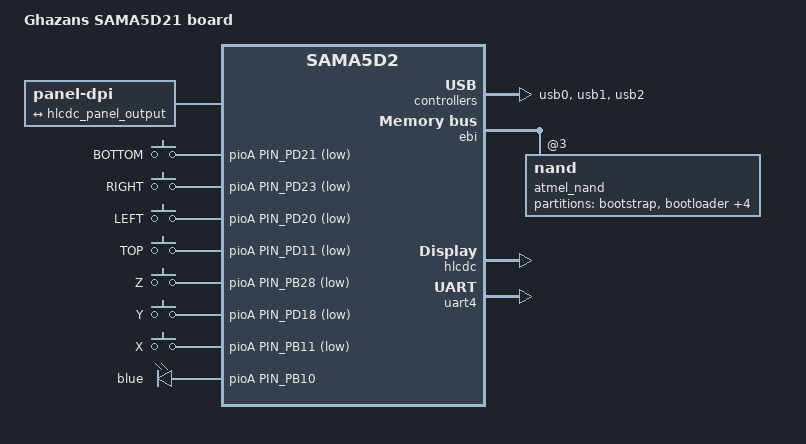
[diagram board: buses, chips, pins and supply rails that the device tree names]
// SPDX-License-Identifier: (GPL-2.0+ OR X11)
/*
 * at91-sama5d2_ptc_ek.dts - Device Tree file for SAMA5D2 PTC EK board
 *
 *  Copyright (C) 2017 Microchip/Atmel,
 *		  2017 Wenyou Yang <wenyou.yang@microchip.com>
 *		  2017 Ludovic Desroches <ludovic.desroches@microchip.com>
 */
/dts-v1/;
#include "sama5d2.dtsi"
#include "sama5d2-pinfunc.h"
#include <dt-bindings/mfd/atmel-flexcom.h>
#include <dt-bindings/gpio/gpio.h>
#include <dt-bindings/input/input.h>
#include <dt-bindings/pinctrl/at91.h>

/ {
	model = "Ghazans SAMA5D21 board";
	compatible = "atmel,sama5d2-ptc_ek", "atmel,sama5d2", "atmel,sama5";

	aliases {
		serial0 = &uart4;	/* Console*/
	};

	chosen {
		stdout-path = "serial0:115200n8";
	};

	clocks {
		slow_xtal {
			clock-frequency = <32768>;
		};

		main_xtal {
			clock-frequency = <12000000>;
		};
	};

	ahb {
		usb0: gadget@300000 {
			status = "okay";
		};

		usb1: ohci@400000 {
			num-ports = <3>;
			status = "okay";
		};

		usb2: ehci@500000 {
			status = "okay";
		};

		ebi: ebi@10000000 {
			pinctrl-names = "default";
			pinctrl-0 = <&pinctrl_nand_default>;
			status = "okay"; /* conflicts with sdmmc1 and qspi0 */

			nand_controller: nand-controller {
				status = "okay";

				nand@3 {
					reg = <0x3 0x0 0x2>;
					atmel,rb = <0>;
					nand-bus-width = <8>;
					nand-ecc-mode = "hw";
					nand-on-flash-bbt;
					label = "atmel_nand";

					partitions {
						compatible = "fixed-partitions";
						#address-cells = <1>;
						#size-cells = <1>;

						at91bootstrap@0 {
							label = "bootstrap";
							reg = <0x0 0x40000>;
						};

						bootloader@80000 {
							label = "bootloader";
							reg = <0x80000 0xc0000>;
						};

						bootloaderenv@140000 {
							label = "bootloader env";
							reg = <0x140000 0x40000>;
						};

						dtb@180000 {
							label = "device tree";
							reg = <0x180000 0x40000>;
						};

						kernel@1C0000 {
							label = "kernel";
							reg = <0x1C0000 0x640000>;
						};

						rootfs@800000 {
							label = "rootfs";
							reg = <0x800000 0x1f700000>;
						};
					};
				};
			};
		};

		sdmmc0: sdio-host@a0000000 {
			bus-width = <8>;
			pinctrl-names = "default";
			pinctrl-0 = <&pinctrl_sdmmc0_default>;
			status = "disabled";
		};

		apb {
                        hlcdc: hlcdc@f0000000 {
                                status = "okay";
                                hlcdc-display-controller {
                                        pinctrl-names = "default";
                                        pinctrl-0 = <&pinctrl_lcd_base &pinctrl_lcd_rgb565>;
                                        port@0 {
                                                hlcdc_panel_output: endpoint@0 {
                                                        reg = <0>;
                                                        remote-endpoint = <&panel_input>;
                                                };
					};
				};
			};



			spi0: spi@f8000000 {
				pinctrl-names = "default";
				pinctrl-0 = <&pinctrl_spi0_default>;
				status = "disabled"; /* Overlaps flexcom3 */
			};

			macb0: ethernet@f8008000 {
				status = "disabled";

			};

			tcb0: timer@f800c000 {
				timer0: timer@0 {
					compatible = "atmel,tcb-timer";
					reg = <0>;
				};

				timer1: timer@1 {
					compatible = "atmel,tcb-timer";
					reg = <1>;
				};
			};

			uart0: serial@f801c000 {
				pinctrl-names = "default";
				pinctrl-0 = <&pinctrl_uart0_default>;
				atmel,use-dma-rx;
				atmel,use-dma-tx;
				status = "disabled";
			};

			uart4: serial@fc00c000 {
				pinctrl-names = "default";
				pinctrl-0 = <&pinctrl_uart4_default>;
				atmel,use-dma-rx;
				atmel,use-dma-tx;
				status = "okay";
			};

			i2c0: i2c@f8028000 {
				status = "disabled";
			};

			flx0: flexcom@f8034000 {
				status = "disabled";
			};
                        flx1: flexcom@f8038000 {
                                status = "disabled";
                        };
                        flx2: flexcom@fc010000 {
				atmel,flexcom-mode = <ATMEL_FLEXCOM_MODE_SPI>;
				status = "disabled";
			};

			poweroff@f8048010 {
				debounce-delay-us = <976>;

				input@0 {
					reg = <0>;
				};
			};

			watchdog@f8048040 {
				status = "okay";
			};

			spi1: spi@fc000000 {
				pinctrl-names = "default";
				pinctrl-0 = <&pinctrl_spi1_default>;
				status = "disabled";
			};

			i2c1: i2c@fc028000 {
				dmas = <0>, <0>;
				pinctrl-names = "default", "gpio";
				pinctrl-0 = <&pinctrl_i2c1_default>;
				pinctrl-1 = <&pinctrl_i2c1_gpio>;
				sda-gpios = <&pioA PIN_PC6 GPIO_ACTIVE_HIGH>;
				scl-gpios = <&pioA PIN_PC7 (GPIO_ACTIVE_HIGH | GPIO_OPEN_DRAIN)>;
				status = "disabled";

			};

			pinctrl@fc038000 {
				pinctrl_flx0_default: flx0_default {
					pinmux = <PIN_PB28__FLEXCOM0_IO0>,
						 <PIN_PB29__FLEXCOM0_IO1>;
					bias-disable;
				};

				pinctrl_flx0_gpio: flx0_gpio {
					pinmux = <PIN_PB28__GPIO>,
						 <PIN_PB29__GPIO>;
					bias-disable;
				};

				pinctrl_i2c0_default: i2c0_default {
					pinmux = <PIN_PD21__TWD0>,
						 <PIN_PD22__TWCK0>;
					bias-disable;
				};

				pinctrl_i2c0_gpio: i2c0_gpio {
					pinmux = <PIN_PD21__GPIO>,
						 <PIN_PD22__GPIO>;
					bias-disable;
				};

				pinctrl_i2c1_default: i2c1_default {
					pinmux = <PIN_PC6__TWD1>,
						 <PIN_PC7__TWCK1>;
					bias-disable;
				};

				pinctrl_i2c1_gpio: i2c1_gpio {
					pinmux = <PIN_PC6__GPIO>,
						 <PIN_PC7__GPIO>;
					bias-disable;
				};

				pinctrl_key_gpio_default: key_gpio_default {
					pinmux = <PIN_PD21__GPIO>,
						 <PIN_PD11__GPIO>,
						 <PIN_PD23__GPIO>,
						 <PIN_PD20__GPIO>,
						 <PIN_PB11__GPIO>,
						 <PIN_PD18__GPIO>,
						 <PIN_PB28__GPIO>;
					bias-pull-up;
				};

				pinctrl_led_gpio_default: led_gpio_default {
					pinmux = <PIN_PB10__GPIO>;
					bias-pull-up;
				};

				pinctrl_macb0_default: macb0_default {
					pinmux = <PIN_PB14__GTXCK>,
						 <PIN_PB15__GTXEN>,
						 <PIN_PB16__GRXDV>,
						 <PIN_PB17__GRXER>,
						 <PIN_PB18__GRX0>,
						 <PIN_PB19__GRX1>,
						 <PIN_PB20__GTX0>,
						 <PIN_PB21__GTX1>,
						 <PIN_PB22__GMDC>,
						 <PIN_PB23__GMDIO>;
					bias-disable;
				};

				pinctrl_macb0_phy_irq: macb0_phy_irq {
					pinmux = <PIN_PB24__GPIO>;
					bias-disable;
				};

				pinctrl_nand_default: nand_default {
					re_we_data {
						pinmux = <PIN_PA22__D0>,
							 <PIN_PA23__D1>,
							 <PIN_PA24__D2>,
							 <PIN_PA25__D3>,
							 <PIN_PA26__D4>,
							 <PIN_PA27__D5>,
							 <PIN_PA28__D6>,
							 <PIN_PA29__D7>,
							 <PIN_PA31__NCS3>;
						bias-disable;
						atmel,drive-strength = <ATMEL_PIO_DRVSTR_ME>;
					};

					ale_cle_rdy_cs {
						pinmux = <PIN_PB0__A21_NANDALE>,
							 <PIN_PB1__A22_NANDCLE>,
							 <PIN_PC8__NANDRDY>,
							 <PIN_PA30__NWE_NANDWE>,
							 <PIN_PB2__NRD_NANDOE>;
						bias-pull-up;
						atmel,drive-strength = <ATMEL_PIO_DRVSTR_ME>;
					};
				};

				pinctrl_sdmmc0_default: sdmmc0_default {
					cmd_data {
						pinmux = <PIN_PA1__SDMMC0_CMD>,
							 <PIN_PA2__SDMMC0_DAT0>,
							 <PIN_PA3__SDMMC0_DAT1>,
							 <PIN_PA4__SDMMC0_DAT2>,
							 <PIN_PA5__SDMMC0_DAT3>,
							 <PIN_PA6__SDMMC0_DAT4>,
							 <PIN_PA7__SDMMC0_DAT5>,
							 <PIN_PA8__SDMMC0_DAT6>,
							 <PIN_PA9__SDMMC0_DAT7>;
						bias-pull-up;
					};

					ck_cd_vddsel {
						pinmux = <PIN_PA0__SDMMC0_CK>,
							 <PIN_PA11__SDMMC0_VDDSEL>,
							 <PIN_PA13__SDMMC0_CD>;
						bias-disable;
					};
				};

				pinctrl_spi0_default: spi0_default {
					pinmux = <PIN_PA14__SPI0_SPCK>,
						 <PIN_PA15__SPI0_MOSI>,
						 <PIN_PA16__SPI0_MISO>,
						 <PIN_PA17__SPI0_NPCS0>;
					bias-disable;
				};

				pinctrl_spi1_default: spi1_default {
					pinmux = <PIN_PC1__SPI1_SPCK>,
						 <PIN_PC2__SPI1_MOSI>,
						 <PIN_PC3__SPI1_MISO>,
						 <PIN_PC4__SPI1_NPCS0>;
					bias-disable;
				};

				pinctrl_uart0_default: uart0_default {
					pinmux = <PIN_PB26__URXD0>,
						 <PIN_PB27__UTXD0>;
					bias-disable;
				};

				pinctrl_uart4_default: uart4_default {
					pinmux = <PIN_PB3__URXD4>,
						 <PIN_PB4__UTXD4>;
					bias-disable;
				};


				pinctrl_usb_default: usb_default {
					pinmux = <PIN_PB12__GPIO>;
					bias-disable;
				};

                                pinctrl_lcd_base: lcd-base-0 {
					pinmux = <PIN_PC4__LCDDISP>,
						<PIN_PC5__LCDVSYNC>,
						<PIN_PC6__LCDHSYNC>,
						<PIN_PC7__LCDPCK>;
//						<PIN_PD1__LCDDEN>; DEN disabled, only VSYNC/HSYNC with fixed backporch
					bias-disable;
                                };
                                pinctrl_lcd_rgb444: lcd-rgb-0 {
                                        atmel,pins =
                                                <AT91_PIOA 0 AT91_PERIPH_A AT91_PINCTRL_NONE    /* LCDD0 pin */
                                                 AT91_PIOA 1 AT91_PERIPH_A AT91_PINCTRL_NONE    /* LCDD1 pin */
                                                 AT91_PIOA 2 AT91_PERIPH_A AT91_PINCTRL_NONE    /* LCDD2 pin */
                                                 AT91_PIOA 3 AT91_PERIPH_A AT91_PINCTRL_NONE    /* LCDD3 pin */
                                                 AT91_PIOA 4 AT91_PERIPH_A AT91_PINCTRL_NONE    /* LCDD4 pin */
                                                 AT91_PIOA 5 AT91_PERIPH_A AT91_PINCTRL_NONE    /* LCDD5 pin */
                                                 AT91_PIOA 6 AT91_PERIPH_A AT91_PINCTRL_NONE    /* LCDD6 pin */
                                                 AT91_PIOA 7 AT91_PERIPH_A AT91_PINCTRL_NONE    /* LCDD7 pin */
                                                 AT91_PIOA 8 AT91_PERIPH_A AT91_PINCTRL_NONE    /* LCDD8 pin */
                                                 AT91_PIOA 9 AT91_PERIPH_A AT91_PINCTRL_NONE    /* LCDD9 pin */
                                                 AT91_PIOA 10 AT91_PERIPH_A AT91_PINCTRL_NONE   /* LCDD10 pin */
                                                 AT91_PIOA 11 AT91_PERIPH_A AT91_PINCTRL_NONE>; /* LCDD11 pin */
                                };
                                pinctrl_lcd_rgb565: lcd-rgb-1 {
                                        pinmux =
                                                <PIN_PB14__LCDDAT3>,
                                                <PIN_PB15__LCDDAT4>,
                                                <PIN_PB16__LCDDAT5>,
                                                <PIN_PB17__LCDDAT6>,
                                                <PIN_PB18__LCDDAT7>,
                                                <PIN_PB21__LCDDAT10>,
                                                <PIN_PB22__LCDDAT11>,
                                                <PIN_PB23__LCDDAT12>,
                                                <PIN_PB24__LCDDAT13>,
                                                <PIN_PB25__LCDDAT14>,
                                                <PIN_PB26__LCDDAT15>,
                                                <PIN_PB30__LCDDAT19>,
                                                <PIN_PB31__LCDDAT20>,
                                                <PIN_PC0__LCDDAT21>,
                                                <PIN_PC1__LCDDAT22>,
                                                <PIN_PC2__LCDDAT23>;
                                        bias-disable;
                                };
			};

		};
	};

        panel: panel {
		compatible = "panel-dpi";
                #address-cells = <1>;
                #size-cells = <0>;
		width-mm = <95>;
		height-mm = <55>;
                status = "okay";

                port@0 {
                        #address-cells = <1>;
                        #size-cells = <0>;

                        panel_input: endpoint@0 {
                                reg = <0>;
                                remote-endpoint = <&hlcdc_panel_output>;
                        };
                };

		panel_timing: panel-timing {
                                clock-frequency = <9303120>;
                                hactive = <480>;
                                vactive = <272>;
                                hback-porch = <43>;
                                hfront-porch = <8>;
                                vback-porch = <12>;
                                vfront-porch = <8>;
                                hsync-len = <4>;
                                vsync-len = <4>;
                                hsync-active = <1>;
                                vsync-active = <1>;
		};
        };

	gpio-keys {
		compatible = "gpio-keys";

		pinctrl-names = "default";
		pinctrl-0 = <&pinctrl_key_gpio_default>;

		button-1 {
			label = "BOTTOM";
			gpios = <&pioA PIN_PD21 GPIO_ACTIVE_LOW>;
			linux,code = <KEY_DOWN>;
		};
		button-2 {
			label = "RIGHT";
			gpios = <&pioA PIN_PD23 GPIO_ACTIVE_LOW>;
			linux,code = <KEY_RIGHT>;
		};
		button-3 {
			label = "LEFT";
			gpios = <&pioA PIN_PD20 GPIO_ACTIVE_LOW>;
			linux,code = <KEY_LEFT>;
		};
		button-4 {
			label = "TOP";
			gpios = <&pioA PIN_PD11 GPIO_ACTIVE_LOW>;
			linux,code = <KEY_UP>;
		};
		button-5 {
			label = "Z";
			gpios = <&pioA PIN_PB28 GPIO_ACTIVE_LOW>;
			linux,code = <KEY_ESC>;
		};
		button-6 {
			label = "Y";
			gpios = <&pioA PIN_PD18 GPIO_ACTIVE_LOW>;
			linux,code = <KEY_TAB>;
		};
		button-7 {
			label = "X";
			gpios = <&pioA PIN_PB11 GPIO_ACTIVE_LOW>;
			linux,code = <KEY_SPACE>;
		};
	};

	leds {
		compatible = "gpio-leds";
		pinctrl-names = "default";
		pinctrl-0 = <&pinctrl_led_gpio_default>;
		status = "okay";

		led-blue {
			label = "blue";
			gpios = <&pioA PIN_PB10 GPIO_ACTIVE_HIGH>;
			linux,default-trigger = "heartbeat";
		};
	};
};
